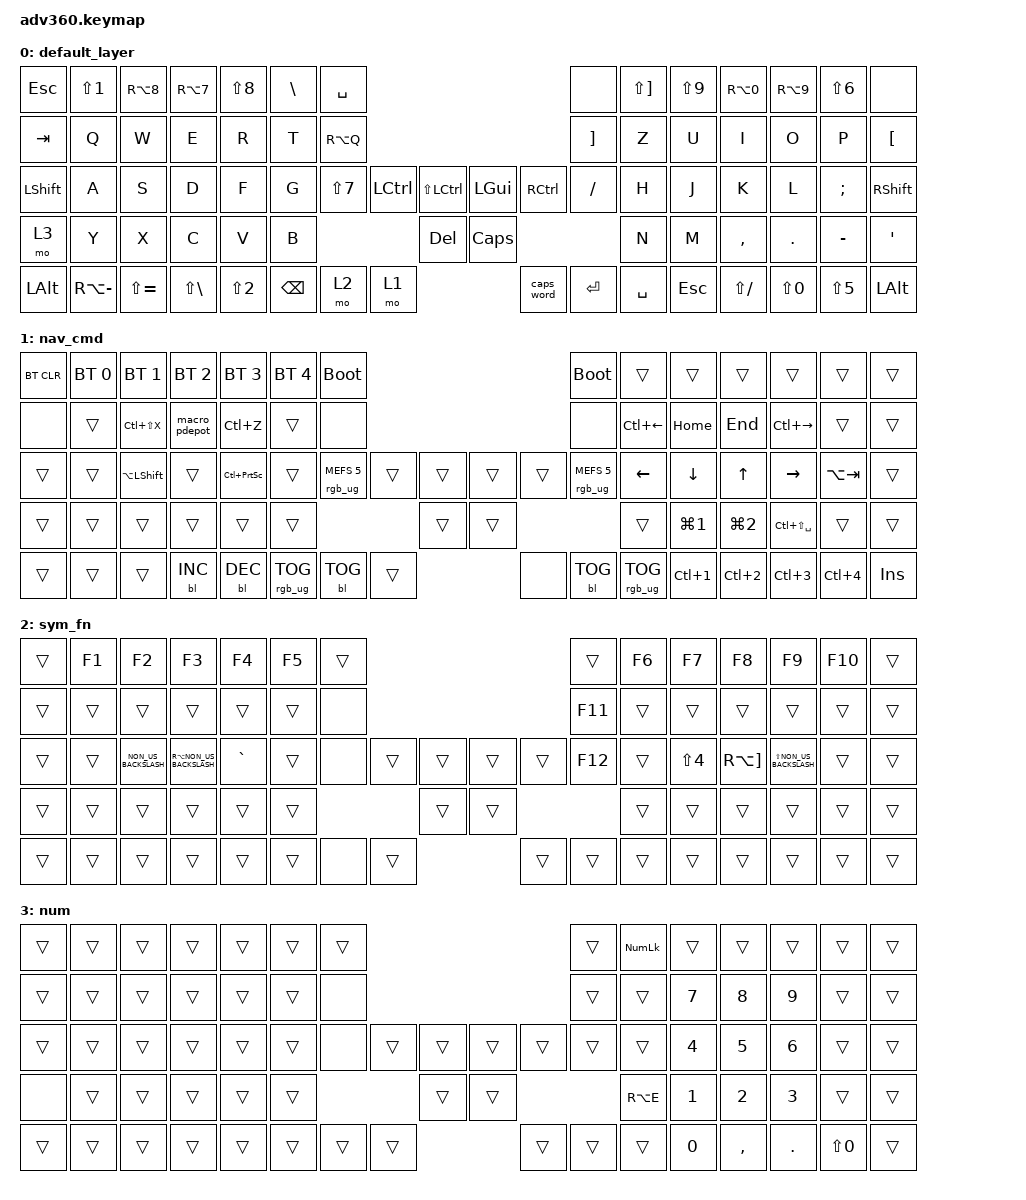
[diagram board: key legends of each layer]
#include <behaviors.dtsi>
#include <dt-bindings/zmk/keys.h>
#include <dt-bindings/zmk/bt.h>
#include <dt-bindings/zmk/rgb.h>
#include <dt-bindings/zmk/backlight.h>

&caps_word {
  continue-list = <UNDERSCORE BACKSPACE DELETE LS(SLASH) N0 N1 N2 N3 N4 N5 N6 N7 N8 N9>;
};

/ {
    behaviors {
      #include "macros.dtsi"
      #include "version.dtsi"
      #ifndef VERSION_MACRO
      macro_ver: macro_ver {
        compatible = "zmk,behavior-macro";
        label = "macro_version";
        #binding-cells = <0>;
        bindings = <&kp RET>;
      };
      #endif

      hm: homerow_mods {
          compatible = "zmk,behavior-hold-tap";
          label = "HOMEROW_MODS";
          #binding-cells = <2>;
          tapping-term-ms = <200>;
          quick_tap_ms = <175>;
          flavor = "tap-preferred";
          bindings = <&kp>, <&kp>;
      };
    };

  keymap {
    compatible = "zmk,keymap";

    default_layer {
      bindings = <
        &kp ESC       &kp LS(N1)    &kp RA(N8)     &kp RA(N7)    &kp LS(N8)    &kp BSLH     &kp SPACE                                                                                                &none                 &kp LS(RBKT) &kp LS(N9)   &kp RA(N0)     &kp RA(N9)    &kp LS(N6)    &none
        &kp TAB       &kp Q         &kp W          &kp E         &kp R         &kp T        &kp RA(Q)                                                                                                &kp RBKT              &kp Z        &kp U        &kp I          &kp O         &kp P         &kp LBKT
        &kp LSHFT     &kp A         &kp S          &kp D         &kp F         &kp G        &kp LS(N7)                            &kp LCTRL  &kp LS(LCTRL)    &kp LGUI   &kp RCTRL                   &kp FSLH              &kp H        &kp J        &kp K          &kp L         &kp SEMI      &kp RSHFT
        &mo 3         &kp Y         &kp X          &kp C         &kp V         &kp B                                                         &kp DEL          &kp CAPS                                                     &kp N        &kp M        &kp COMMA      &kp DOT       &kp MINUS     &kp SQT
        &kp LALT      &kp RA(MINUS) &kp LS(EQUAL)  &kp LS(BSLH)  &kp LS(N2)                                        &kp BSPC       &mo 2      &mo 1            &caps_word &kp ENTER  &kp SPACE                                           &kp ESC      &kp LS(SLASH)  &kp LS(N0)    &kp LS(N5)    &kp LALT
      >;
    };
    nav_cmd {
      bindings = <
        &bt BT_CLR    &bt BT_SEL 0 &bt BT_SEL 1   &bt BT_SEL 2  &bt BT_SEL 3  &bt BT_SEL 4 &bootloader                                                                                              &bootloader            &trans       &trans       &trans         &trans        &trans        &trans
        &none         &trans       &kp LC(LS(X))  &macro_pdepot &kp LC(Z)     &trans       &none                                                                                                    &none                  &kp LC(LEFT) &kp HOME     &kp END        &kp LC(RIGHT) &trans        &trans
        &trans        &trans       &kp LA(LSHIFT) &trans        &kp LC(PSCRN) &trans       &rgb_ug RGB_MEFS_CMD 5                 &trans     &trans           &trans     &trans                     &rgb_ug RGB_MEFS_CMD 5 &kp LEFT     &kp DOWN     &kp UP         &kp RIGHT     &kp LA(TAB)   &trans
        &trans        &trans       &trans         &trans        &trans        &trans                                                         &trans           &trans                                                       &trans       &kp LG(N1)   &kp LG(N2)     &kp LC(LS(SPACE)) &trans &trans
        &trans        &trans       &trans         &bl BL_INC    &bl BL_DEC                                        &rgb_ug RGB_TOG &bl BL_TOG &trans           &none      &bl BL_TOG &rgb_ug RGB_TOG                                     &kp LC(N1)   &kp LC(N2)     &kp LC(N3)    &kp LC(N4)    &kp INS
      >;
    };
    sym_fn {
      bindings = <
        &trans        &kp F1       &kp F2         &kp F3        &kp F4        &kp F5       &trans                                                                                                   &trans                 &kp F6       &kp F7       &kp F8         &kp F9        &kp F10       &trans
        &trans        &trans       &trans         &trans        &trans        &trans       &none                                                                                                    &kp F11                &trans       &trans       &trans         &trans        &trans        &trans
        &trans        &trans       &kp NON_US_BACKSLASH &kp RA(NON_US_BACKSLASH) &kp GRAVE &trans &none                           &trans     &trans           &trans      &trans                    &kp F12                &trans       &kp LS(N4)   &kp RA(RBKT)   &kp LS(NON_US_BACKSLASH)    &trans     &trans
        &trans        &trans       &trans         &trans        &trans        &trans                                                         &trans           &trans                                                       &trans       &trans       &trans         &trans        &trans        &trans
        &trans        &trans       &trans         &trans        &trans                                            &trans          &none      &trans           &trans      &trans    &trans                                              &trans       &trans         &trans        &trans        &trans
      >;
    };
    num {
      bindings = <
        &trans        &trans       &trans         &trans        &trans        &trans       &trans                                                                                                   &trans                 &kp KP_NUM   &trans       &trans         &trans        &trans        &trans
        &trans        &trans       &trans         &trans        &trans        &trans       &none                                                                                                    &trans                 &trans       &kp N7       &kp N8         &kp N9        &trans        &trans
        &trans        &trans       &trans         &trans        &trans        &trans       &none                                  &trans     &trans           &trans      &trans                    &trans                 &trans       &kp N4       &kp N5         &kp N6        &trans        &trans
        &none         &trans       &trans         &trans        &trans        &trans                                                         &trans           &trans                                                       &kp RA(E)    &kp N1       &kp N2         &kp N3        &trans        &trans
        &trans        &trans       &trans         &trans        &trans                                            &trans          &trans     &trans           &trans      &trans    &trans                                              &kp N0       &kp COMMA      &kp DOT       &kp LS(N0)    &trans
      >;
    };
  };
};
